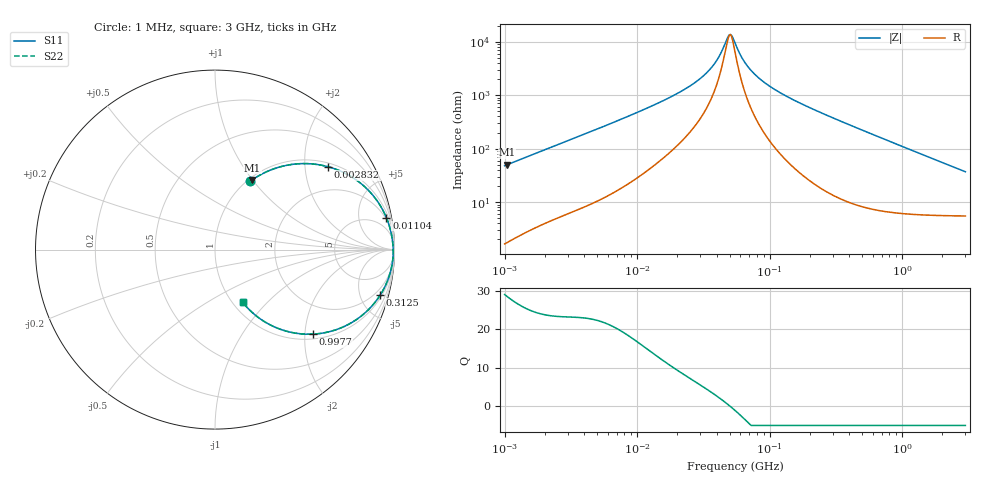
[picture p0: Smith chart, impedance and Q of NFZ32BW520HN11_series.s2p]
! NFZ32BW520HN11
# Hz S RI R 50
!Freq.(Hz) S11(Real) S11(Imag) S21(Real) S21(Imag) S12(Real) S12(Imag) S22(Real) S22(Imag)
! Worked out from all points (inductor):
!   401 points, 1 MHz to 3 GHz, reference 50 ohm
!   read as one part in series: L = 7.58 uH near 1.041 MHz
!   highest Q = 28.6 at 1.041 MHz (marker M1), where L = 7.63 uH
!   self-resonance near 49.56 MHz
!   S11 on the Smith chart (normalised r, x): 1 MHz: 1.03, +0.96; 2.832 MHz: 1.11, +2.64; 11.04 MHz: 2, +11; 312.5 MHz: 1.26, -7.21; 997.7 MHz: 1.12, -2.20; 3 GHz: 1.11, -0.73
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1000000  0.1953 0.3796  0.8047 -0.3796  0.8047 -0.3796  0.1953 0.3796
1040844  0.2075 0.3884  0.7925 -0.3884  0.7925 -0.3884  0.2075 0.3884
1786863  0.4198 0.4733  0.5802 -0.4733  0.5802 -0.4733  0.4198 0.4733
2831560  0.6311 0.4615  0.3689 -0.4615  0.3689 -0.4615  0.6311 0.4615
3823119  0.7506 0.4115  0.2494 -0.4115  0.2494 -0.4115  0.7506 0.4115
1.104425e7  0.9549 0.1781  0.0451 -0.1781  0.0451 -0.1781  0.9549 0.1781
1.461624e7  0.9712 0.1323  0.0288 -0.1323  0.0288 -0.1323  0.9712 0.1323
2.362996e7  0.9855 0.0714  0.0145 -0.0714  0.0145 -0.0714  0.9855 0.0714
3.254976e7  0.9901 0.0392  0.00995 -0.0392  0.00995 -0.0392  0.9901 0.0392
3.976269e7  0.9917 0.0209  0.00828 -0.0209  0.00828 -0.0209  0.9917 0.0209
4.955604e7  0.9927 0.00129  0.0073 -0.00129  0.0073 -0.00129  0.9927 0.00129
5.15801e7  0.9928 -0.00226  0.00722 0.00226  0.00722 0.00226  0.9928 -0.00226
5.477226e7  0.9929 -0.00762  0.00714 0.00762  0.00714 0.00762  0.9929 -0.00762
6.558369e7  0.9927 -0.024  0.00735 0.024  0.00735 0.024  0.9927 -0.024
8.338914e7  0.9913 -0.0472  0.00874 0.0472  0.00874 0.0472  0.9913 -0.0472
1.219755e8  0.9854 -0.09  0.0146 0.09  0.0146 0.09  0.9854 -0.09
2.094008e8  0.962 -0.1715  0.038 0.1715  0.038 0.1715  0.962 -0.1715
3.124888e8  0.9209 -0.2528  0.0791 0.2528  0.0791 0.2528  0.9209 -0.2528
8.005644e8  0.6479 -0.4546  0.3521 0.4546  0.3521 0.4546  0.6479 -0.4546
9.977393e8  0.5464 -0.4709  0.4536 0.4709  0.4536 0.4709  0.5464 -0.4709
1.818868e9  0.2861 -0.4077  0.7139 0.4077  0.7139 0.4077  0.2861 -0.4077
3e9  0.1537 -0.2932  0.8463 0.2932  0.8463 0.2932  0.1537 -0.2932
